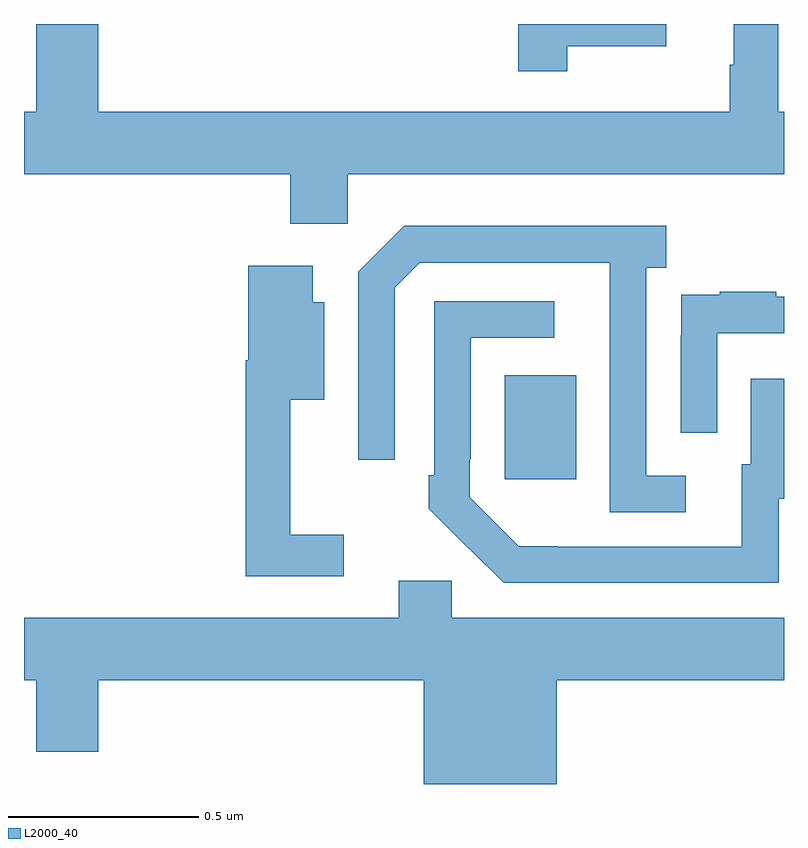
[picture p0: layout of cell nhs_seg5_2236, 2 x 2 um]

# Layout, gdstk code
import gdstk
lib = gdstk.Library(unit=1e-6, precision=1e-09)
def R(c, l, rs):  # rectangles x0, y0, x1, y1
    for r in rs: c.add(gdstk.rectangle(r[:2], r[2:], *l))
def P(c, l, *ps):  # polygons
    for p in ps: c.add(gdstk.Polygon(p, *l))
L2000_40 = (2000, 40)

nhs_seg5_2236 = lib.new_cell('nhs_seg5_2236')
R(nhs_seg5_2236, L2000_40, [(142.265,878.601,142.453,878.875)])
P(nhs_seg5_2236, L2000_40, [(141.852,879.404),(143,879.404),(143,879.568),(142.985,879.568),(142.985,879.799),(142.868,879.799),(142.868,879.692),(142.857,879.692),(142.857,879.568),(141.196,879.568),(141.196,879.799),(141.032,879.799),(141.032,879.568),(141,879.568),(141,879.404),(141.701,879.404),(141.701,879.273),(141.852,879.273)],
  [(142.429,879.74),(142.69,879.74),(142.69,879.799),(142.3,879.799),(142.3,879.675),(142.429,879.675)],
  [(142.741,878.61),(142.638,878.61),(142.638,879.158),(142.69,879.158),(142.69,879.268),(142,879.268),(141.879,879.147),(141.879,878.652),(141.975,878.652),(141.975,879.105),(142.041,879.171),(142.541,879.171),(142.541,878.971),(142.542,878.971),(142.542,878.514),(142.741,878.514)],
  [(141.841,878.455),(141.701,878.455),(141.701,878.81),(141.79,878.81),(141.79,879.067),(141.76,879.067),(141.76,879.163),(141.59,879.163),(141.59,878.914),(141.583,878.914),(141.583,878.346),(141.841,878.346)],
  [(142.824,878.985),(143,878.985),(143,879.081),(142.979,879.081),(142.979,879.094),(142.831,879.094),(142.831,879.087),(142.729,879.087),(142.729,878.978),(142.728,878.978),(142.728,878.724),(142.824,878.724)],
  [(142.986,878.55),(143,878.55),(143,878.866),(142.913,878.866),(142.913,878.64),(142.889,878.64),(142.889,878.424),(142.405,878.424),(142.405,878.425),(142.302,878.425),(142.173,878.553),(142.173,878.653),(142.176,878.653),(142.176,878.973),(142.396,878.973),(142.396,879.069),(142.08,879.069),(142.08,878.611),(142.065,878.611),(142.065,878.523),(142.17,878.418),(142.171,878.419),(142.262,878.328),(142.986,878.328)],
  [(142.402,878.072),(143,878.072),(143,878.236),(142.125,878.236),(142.125,878.334),(141.986,878.334),(141.986,878.236),(141,878.236),(141,878.072),(141.032,878.072),(141.032,877.884),(141.196,877.884),(141.196,878.072),(142.052,878.072),(142.052,877.799),(142.402,877.799)])

lib.write_gds('nhs_seg5_2236.gds')
